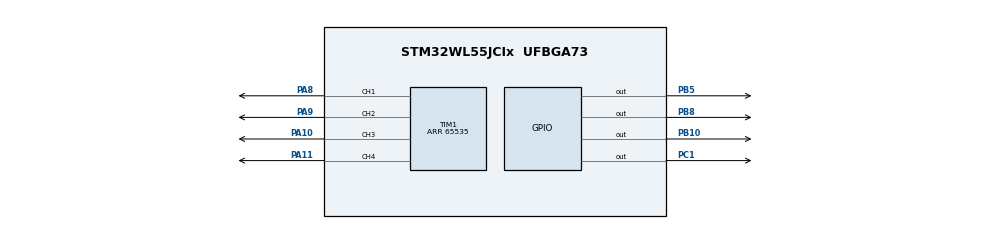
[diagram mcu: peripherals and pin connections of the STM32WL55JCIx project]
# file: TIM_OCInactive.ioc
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Mcu.Family=STM32WL
Mcu.Name=STM32WL55JCIx
Mcu.Package=UFBGA73
NVIC.PriorityGroup=NVIC_PRIORITYGROUP_4
NVIC.TIM1_CC_IRQn=true\:0\:0\:false\:false\:true\:true\:true
PA10.GPIO_PuPd=GPIO_PULLUP
PA10.GPIO_Speed=GPIO_SPEED_FREQ_VERY_HIGH
PA10.Signal=S_TIM1_CH3
PA11.GPIO_PuPd=GPIO_PULLUP
PA11.GPIO_Speed=GPIO_SPEED_FREQ_VERY_HIGH
PA11.Signal=S_TIM1_CH4
PA8.GPIO_PuPd=GPIO_PULLUP
PA8.GPIO_Speed=GPIO_SPEED_FREQ_VERY_HIGH
PA8.Signal=S_TIM1_CH1
PA9.GPIO_PuPd=GPIO_PULLUP
PA9.GPIO_Speed=GPIO_SPEED_FREQ_VERY_HIGH
PA9.Signal=S_TIM1_CH2
PB10.GPIO_PuPd=GPIO_PULLUP
PB10.GPIO_Speed=GPIO_SPEED_FREQ_HIGH
PB10.Signal=GPIO_Output
PB5.GPIO_PuPd=GPIO_PULLUP
PB5.GPIO_Speed=GPIO_SPEED_FREQ_HIGH
PB5.Signal=GPIO_Output
PB8.GPIO_PuPd=GPIO_PULLUP
PB8.GPIO_Speed=GPIO_SPEED_FREQ_HIGH
PB8.Signal=GPIO_Output
PC1.GPIO_PuPd=GPIO_PULLUP
PC1.GPIO_Speed=GPIO_SPEED_FREQ_HIGH
PC1.Signal=GPIO_Output
ProjectManager.HeapSize=0x200
ProjectManager.StackSize=0x400
ProjectManager.TargetToolchain=EWARM V8
RCC.AHBFreq_Value=48000000
RCC.APB1Freq_Value=48000000
RCC.APB1TimFreq_Value=48000000
RCC.APB2Freq_Value=48000000
RCC.APB2TimFreq_Value=48000000
RCC.APB3Freq_Value=48000000
RCC.CortexFreq_Value=48000000
RCC.HCLKFreq_Value=48000000
RCC.HSE_VALUE=8000000
RCC.HSI_VALUE=16000000
RCC.LSE_VALUE=32768
RCC.MSIClockRange=RCC_MSIRANGE_8
RCC.PLLM=RCC_PLLM_DIV4
RCC.PLLN=24
RCC.SYSCLKFreq_VALUE=48000000
RCC.SYSCLKSource=RCC_SYSCLKSOURCE_PLLCLK
RCC.VCOOutputFreq_Value=96000000
SH.S_TIM1_CH1.0=TIM1_CH1,Output Compare1 CH1
SH.S_TIM1_CH2.0=TIM1_CH2,Output Compare2 CH2
SH.S_TIM1_CH3.0=TIM1_CH3,Output Compare3 CH3
SH.S_TIM1_CH4.0=TIM1_CH4,Output Compare4 CH4
TIM1.AutoReloadPreload=TIM_AUTORELOAD_PRELOAD_DISABLE
TIM1.AutomaticOutput=TIM_AUTOMATICOUTPUT_DISABLE
TIM1.Break2Filter=0
TIM1.Break2Polarity=TIM_BREAK2POLARITY_HIGH
TIM1.Break2State=TIM_BREAK2_DISABLE
TIM1.BreakFilter=0
TIM1.BreakPolarity=TIM_BREAKPOLARITY_HIGH
TIM1.BreakState=TIM_BREAK_DISABLE
TIM1.Channel-Output\ Compare1\ CH1=TIM_CHANNEL_1
TIM1.Channel-Output\ Compare2\ CH2=TIM_CHANNEL_2
TIM1.Channel-Output\ Compare3\ CH3=TIM_CHANNEL_3
TIM1.Channel-Output\ Compare4\ CH4=TIM_CHANNEL_4
TIM1.ClearInputSource=TIM_CLEARINPUTSOURCE_NONE
TIM1.ClockDivision=TIM_CLOCKDIVISION_DIV1
TIM1.CounterMode=TIM_COUNTERMODE_UP
TIM1.LockLevel=TIM_LOCKLEVEL_OFF
TIM1.OC1Preload=DISABLE
TIM1.OC2Preload=DISABLE
TIM1.OC3Preload=DISABLE
TIM1.OC4Preload=DISABLE
TIM1.OCIdleState_1=TIM_OCIDLESTATE_RESET
TIM1.OCIdleState_2=TIM_OCIDLESTATE_RESET
TIM1.OCIdleState_3=TIM_OCIDLESTATE_RESET
TIM1.OCIdleState_4=TIM_OCIDLESTATE_RESET
TIM1.OCMode_1=TIM_OCMODE_INACTIVE
TIM1.OCMode_2=TIM_OCMODE_INACTIVE
TIM1.OCMode_3=TIM_OCMODE_INACTIVE
TIM1.OCMode_4=TIM_OCMODE_INACTIVE
TIM1.OCPolarity_1=TIM_OCPOLARITY_HIGH
TIM1.OCPolarity_2=TIM_OCPOLARITY_HIGH
TIM1.OCPolarity_3=TIM_OCPOLARITY_HIGH
TIM1.OCPolarity_4=TIM_OCPOLARITY_HIGH
TIM1.OffStateIDLEMode=TIM_OSSI_DISABLE
TIM1.OffStateRunMode=TIM_OSSR_DISABLE
TIM1.Period=65535
TIM1.Prescaler=PRESCALER_VALUE
TIM1.Pulse-Output\ Compare1\ CH1=PULSE1_VALUE
TIM1.Pulse-Output\ Compare2\ CH2=PULSE2_VALUE
TIM1.Pulse-Output\ Compare3\ CH3=PULSE3_VALUE
TIM1.Pulse-Output\ Compare4\ CH4=PULSE4_VALUE
TIM1.RepetitionCounter=0
TIM1.SourceBRK2COMP1=TIM_BREAKINPUTSOURCE_DISABLE
TIM1.SourceBRK2COMP2=TIM_BREAKINPUTSOURCE_DISABLE
TIM1.SourceBRK2DigInput=TIM_BREAKINPUTSOURCE_DISABLE
TIM1.SourceBRKCOMP1=TIM_BREAKINPUTSOURCE_DISABLE
TIM1.SourceBRKCOMP2=TIM_BREAKINPUTSOURCE_DISABLE
TIM1.SourceBRKDigInput=TIM_BREAKINPUTSOURCE_DISABLE
TIM1.TIM_MasterOutputTrigger=TIM_TRGO_RESET
TIM1.TIM_MasterOutputTrigger2=TIM_TRGO2_RESET
TIM1.TIM_MasterSlaveMode=TIM_MASTERSLAVEMODE_DISABLE
board=custom

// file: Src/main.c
/* USER CODE BEGIN Header */
/**
  ******************************************************************************
  * @file    TIM/TIM_OCInactive/Src/main.c
  * @author  MCD Application Team
  * @brief   This example shows how to configure the Timer to generate four
  *          delayed signals.
  ******************************************************************************
  * @attention
  *
  * <h2><center>&copy; Copyright (c) 2020 STMicroelectronics.
  * All rights reserved.</center></h2>
  *
  * This software component is licensed by ST under BSD 3-Clause license,
  * the "License"; You may not use this file except in compliance with the
  * License. You may obtain a copy of the License at:
  *                        opensource.org/licenses/BSD-3-Clause
  *
  ******************************************************************************
  */
/* USER CODE END Header */
#include "main.h"

TIM_HandleTypeDef htim1;

void SystemClock_Config(void);
static void MX_GPIO_Init(void);
static void MX_TIM1_Init(void);

int main(void)
{
  /* USER CODE BEGIN 1 */
  /* STM32WLxx HAL library initialization:
       - Configure the Flash prefetch
       - Systick timer is configured by default as source of time base, but user
         can eventually implement his proper time base source (a general purpose
         timer for example or other time source), keeping in mind that Time base
         duration should be kept 1ms since PPP_TIMEOUT_VALUEs are defined and
         handled in milliseconds basis.
       - Set NVIC Group Priority to 4
       - Low Level Initialization
     */
  /* USER CODE END 1 */

  /* MCU Configuration--------------------------------------------------------*/

  /* Reset of all peripherals, Initializes the Flash interface and the Systick. */
  HAL_Init();

  /* Configure the system clock */
  SystemClock_Config();

  /* Initialize all configured peripherals */
  MX_GPIO_Init();
  MX_TIM1_Init();
  /* USER CODE BEGIN 2 */
  /*## Set GPIO Pins PC1, PB10, PB8 and PB5 as reference ###################*/
  HAL_GPIO_WritePin(GPIOC, GPIO_PIN_1, GPIO_PIN_SET);
  HAL_GPIO_WritePin(GPIOB, GPIO_PIN_10, GPIO_PIN_SET);
  HAL_GPIO_WritePin(GPIOB, GPIO_PIN_8, GPIO_PIN_SET);
  HAL_GPIO_WritePin(GPIOB, GPIO_PIN_5, GPIO_PIN_SET);

  /*## Start signals generation #######################################*/
  /* Start channel 1 in Output compare mode */
  if(HAL_TIM_OC_Start_IT(&htim1, TIM_CHANNEL_1) != HAL_OK)
  {
    /* Starting Error */
    Error_Handler();
  }
  /* Start channel 2 in Output compare mode */
  if(HAL_TIM_OC_Start_IT(&htim1, TIM_CHANNEL_2) != HAL_OK)
  {
    /* Starting Error */
    Error_Handler();
  }
  /* Start channel 3 in Output compare mode */
  if(HAL_TIM_OC_Start_IT(&htim1, TIM_CHANNEL_3) != HAL_OK)
  {
    /* Starting Error */
    Error_Handler();
  }
  /* Start channel 4 in Output compare mode */
  if(HAL_TIM_OC_Start_IT(&htim1, TIM_CHANNEL_4) != HAL_OK)
  {
    /* Starting Error */
    Error_Handler();
  }

  /* USER CODE END 2 */

  /* Infinite loop */
  while (1)
  {

  }
}

void SystemClock_Config(void)
{
  RCC_OscInitTypeDef RCC_OscInitStruct = {0};
  RCC_ClkInitTypeDef RCC_ClkInitStruct = {0};

  /** Configure the main internal regulator output voltage
  */
  __HAL_PWR_VOLTAGESCALING_CONFIG(PWR_REGULATOR_VOLTAGE_SCALE1);
  /** Initializes the CPU, AHB and APB busses clocks
  */
  RCC_OscInitStruct.OscillatorType = RCC_OSCILLATORTYPE_MSI;
  RCC_OscInitStruct.MSIState = RCC_MSI_ON;
  RCC_OscInitStruct.MSICalibrationValue = RCC_MSICALIBRATION_DEFAULT;
  RCC_OscInitStruct.MSIClockRange = RCC_MSIRANGE_8;
  RCC_OscInitStruct.PLL.PLLState = RCC_PLL_ON;
  RCC_OscInitStruct.PLL.PLLSource = RCC_PLLSOURCE_MSI;
  RCC_OscInitStruct.PLL.PLLM = RCC_PLLM_DIV4;
  RCC_OscInitStruct.PLL.PLLN = 24;
  RCC_OscInitStruct.PLL.PLLP = RCC_PLLP_DIV2;
  RCC_OscInitStruct.PLL.PLLR = RCC_PLLR_DIV2;
  RCC_OscInitStruct.PLL.PLLQ = RCC_PLLQ_DIV2;
  if (HAL_RCC_OscConfig(&RCC_OscInitStruct) != HAL_OK)
  {
    Error_Handler();
  }
  /** Configure the SYSCLKSource, HCLK, PCLK1 and PCLK2 clocks dividers
  */
  RCC_ClkInitStruct.ClockType = RCC_CLOCKTYPE_HCLK3|RCC_CLOCKTYPE_HCLK
                              |RCC_CLOCKTYPE_SYSCLK|RCC_CLOCKTYPE_PCLK1
                              |RCC_CLOCKTYPE_PCLK2;
  RCC_ClkInitStruct.SYSCLKSource = RCC_SYSCLKSOURCE_PLLCLK;
  RCC_ClkInitStruct.AHBCLKDivider = RCC_SYSCLK_DIV1;
  RCC_ClkInitStruct.APB1CLKDivider = RCC_HCLK_DIV1;
  RCC_ClkInitStruct.APB2CLKDivider = RCC_HCLK_DIV1;
  RCC_ClkInitStruct.AHBCLK3Divider = RCC_SYSCLK_DIV1;

  if (HAL_RCC_ClockConfig(&RCC_ClkInitStruct, FLASH_LATENCY_2) != HAL_OK)
  {
    Error_Handler();
  }
}

static void MX_TIM1_Init(void)
{

  TIM_MasterConfigTypeDef sMasterConfig = {0};
  TIM_OC_InitTypeDef sConfigOC = {0};
  TIM_BreakDeadTimeConfigTypeDef sBreakDeadTimeConfig = {0};

  htim1.Instance = TIM1;
  htim1.Init.Prescaler = PRESCALER_VALUE;
  htim1.Init.CounterMode = TIM_COUNTERMODE_UP;
  htim1.Init.Period = 65535;
  htim1.Init.ClockDivision = TIM_CLOCKDIVISION_DIV1;
  htim1.Init.RepetitionCounter = 0;
  htim1.Init.AutoReloadPreload = TIM_AUTORELOAD_PRELOAD_DISABLE;
  if (HAL_TIM_OC_Init(&htim1) != HAL_OK)
  {
    Error_Handler();
  }
  sMasterConfig.MasterOutputTrigger = TIM_TRGO_RESET;
  sMasterConfig.MasterOutputTrigger2 = TIM_TRGO2_RESET;
  sMasterConfig.MasterSlaveMode = TIM_MASTERSLAVEMODE_DISABLE;
  if (HAL_TIMEx_MasterConfigSynchronization(&htim1, &sMasterConfig) != HAL_OK)
  {
    Error_Handler();
  }
  sConfigOC.OCMode = TIM_OCMODE_INACTIVE;
  sConfigOC.Pulse = PULSE1_VALUE;
  sConfigOC.OCPolarity = TIM_OCPOLARITY_HIGH;
  sConfigOC.OCNPolarity = TIM_OCNPOLARITY_HIGH;
  sConfigOC.OCFastMode = TIM_OCFAST_DISABLE;
  sConfigOC.OCIdleState = TIM_OCIDLESTATE_RESET;
  sConfigOC.OCNIdleState = TIM_OCNIDLESTATE_RESET;
  if (HAL_TIM_OC_ConfigChannel(&htim1, &sConfigOC, TIM_CHANNEL_1) != HAL_OK)
  {
    Error_Handler();
  }
  sConfigOC.Pulse = PULSE2_VALUE;
  if (HAL_TIM_OC_ConfigChannel(&htim1, &sConfigOC, TIM_CHANNEL_2) != HAL_OK)
  {
    Error_Handler();
  }
  sConfigOC.Pulse = PULSE3_VALUE;
  if (HAL_TIM_OC_ConfigChannel(&htim1, &sConfigOC, TIM_CHANNEL_3) != HAL_OK)
  {
    Error_Handler();
  }
  sConfigOC.Pulse = PULSE4_VALUE;
  if (HAL_TIM_OC_ConfigChannel(&htim1, &sConfigOC, TIM_CHANNEL_4) != HAL_OK)
  {
    Error_Handler();
  }
  sBreakDeadTimeConfig.OffStateRunMode = TIM_OSSR_DISABLE;
  sBreakDeadTimeConfig.OffStateIDLEMode = TIM_OSSI_DISABLE;
  sBreakDeadTimeConfig.LockLevel = TIM_LOCKLEVEL_OFF;
  sBreakDeadTimeConfig.DeadTime = 0;
  sBreakDeadTimeConfig.BreakState = TIM_BREAK_DISABLE;
  sBreakDeadTimeConfig.BreakPolarity = TIM_BREAKPOLARITY_HIGH;
  sBreakDeadTimeConfig.BreakFilter = 0;
  sBreakDeadTimeConfig.BreakAFMode = TIM_BREAK_AFMODE_INPUT;
  sBreakDeadTimeConfig.Break2State = TIM_BREAK2_DISABLE;
  sBreakDeadTimeConfig.Break2Polarity = TIM_BREAK2POLARITY_HIGH;
  sBreakDeadTimeConfig.Break2Filter = 0;
  sBreakDeadTimeConfig.Break2AFMode = TIM_BREAK_AFMODE_INPUT;
  sBreakDeadTimeConfig.AutomaticOutput = TIM_AUTOMATICOUTPUT_DISABLE;
  if (HAL_TIMEx_ConfigBreakDeadTime(&htim1, &sBreakDeadTimeConfig) != HAL_OK)
  {
    Error_Handler();
  }
  HAL_TIM_MspPostInit(&htim1);

}

static void MX_GPIO_Init(void)
{
  GPIO_InitTypeDef GPIO_InitStruct = {0};

  /* GPIO Ports Clock Enable */
  __HAL_RCC_GPIOA_CLK_ENABLE();
  __HAL_RCC_GPIOB_CLK_ENABLE();
  __HAL_RCC_GPIOC_CLK_ENABLE();

  /*Configure GPIO pin Output Level */
  HAL_GPIO_WritePin(GPIOB, GPIO_PIN_5|GPIO_PIN_8|GPIO_PIN_10, GPIO_PIN_RESET);

  /*Configure GPIO pin Output Level */
  HAL_GPIO_WritePin(GPIOC, GPIO_PIN_1, GPIO_PIN_RESET);

  /*Configure GPIO pins : PB5 PB8 PB10 */
  GPIO_InitStruct.Pin = GPIO_PIN_5|GPIO_PIN_8|GPIO_PIN_10;
  GPIO_InitStruct.Mode = GPIO_MODE_OUTPUT_PP;
  GPIO_InitStruct.Pull = GPIO_PULLUP;
  GPIO_InitStruct.Speed = GPIO_SPEED_FREQ_HIGH;
  HAL_GPIO_Init(GPIOB, &GPIO_InitStruct);

  /*Configure GPIO pin : PC1 */
  GPIO_InitStruct.Pin = GPIO_PIN_1;
  GPIO_InitStruct.Mode = GPIO_MODE_OUTPUT_PP;
  GPIO_InitStruct.Pull = GPIO_PULLUP;
  GPIO_InitStruct.Speed = GPIO_SPEED_FREQ_HIGH;
  HAL_GPIO_Init(GPIOC, &GPIO_InitStruct);

}

/* USER CODE BEGIN 4 */
/**
  * @brief  Output Compare callback in non blocking mode
  * @param  htim : TIM OC handle
  * @retval None
  */
void HAL_TIM_OC_DelayElapsedCallback(TIM_HandleTypeDef *htim)
{
  if(htim->Channel == HAL_TIM_ACTIVE_CHANNEL_1)
  {
    /* Reset GPIO Pin PC1 after 1s */
    HAL_GPIO_WritePin(GPIOC, GPIO_PIN_1, GPIO_PIN_RESET);
  }
  else if(htim->Channel == HAL_TIM_ACTIVE_CHANNEL_2)
  {
    /* Reset GPIO Pin PB10 after 500ms */
    HAL_GPIO_WritePin(GPIOB, GPIO_PIN_10, GPIO_PIN_RESET);
  }
  else if(htim->Channel == HAL_TIM_ACTIVE_CHANNEL_3)
  {
    /* Reset GPIO Pin PB8 after 250ms */
    HAL_GPIO_WritePin(GPIOB, GPIO_PIN_8, GPIO_PIN_RESET);
  }
  else
  {
    /* Reset GPIO Pin PB5 after 125ms */
    HAL_GPIO_WritePin(GPIOB, GPIO_PIN_5, GPIO_PIN_RESET);
  }
}

/* USER CODE END 4 */

void Error_Handler(void)
{
  while(1)
  {
  }
}

/************************ (C) COPYRIGHT STMicroelectronics *****END OF FILE****/
